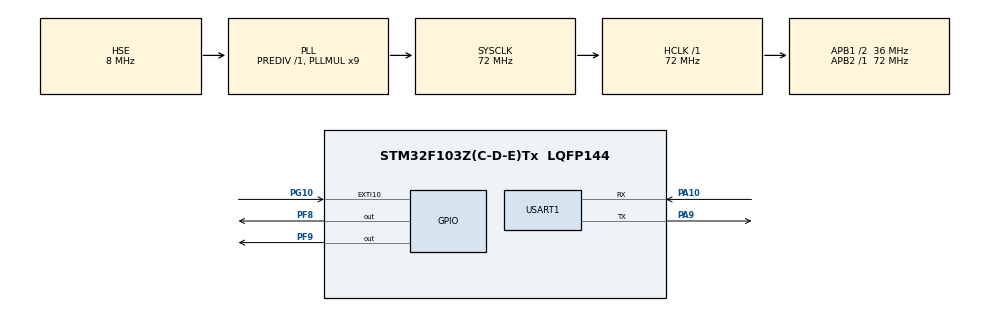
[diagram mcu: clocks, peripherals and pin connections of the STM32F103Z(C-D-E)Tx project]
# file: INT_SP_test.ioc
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Mcu.Family=STM32F1
Mcu.Name=STM32F103Z(C-D-E)Tx
Mcu.Package=LQFP144
NVIC.EXTI15_10_IRQn=true\:3\:0\:true\:false\:true\:true\:true\:true
NVIC.PriorityGroup=NVIC_PRIORITYGROUP_2
OSC_IN.Mode=HSE-External-Oscillator
OSC_IN.Signal=RCC_OSC_IN
OSC_OUT.Mode=HSE-External-Oscillator
OSC_OUT.Signal=RCC_OSC_OUT
PA10.Mode=Asynchronous
PA10.Signal=USART1_RX
PA13.Mode=Serial_Wire
PA13.Signal=SYS_JTMS-SWDIO
PA14.Mode=Serial_Wire
PA14.Signal=SYS_JTCK-SWCLK
PA9.Mode=Asynchronous
PA9.Signal=USART1_TX
PF8.PinState=GPIO_PIN_SET
PF8.Signal=GPIO_Output
PF9.PinState=GPIO_PIN_SET
PF9.Signal=GPIO_Output
PG10.GPIO_ModeDefaultEXTI=GPIO_MODE_IT_FALLING
PG10.Signal=GPXTI10
ProjectManager.HeapSize=0x200
ProjectManager.StackSize=0x400
ProjectManager.TargetToolchain=MDK-ARM V5.32
RCC.AHBFreq_Value=72000000
RCC.APB1CLKDivider=RCC_HCLK_DIV2
RCC.APB1Freq_Value=36000000
RCC.APB1TimFreq_Value=72000000
RCC.APB2Freq_Value=72000000
RCC.APB2TimFreq_Value=72000000
RCC.HCLKFreq_Value=72000000
RCC.PLLMUL=RCC_PLL_MUL9
RCC.PLLSourceVirtual=RCC_PLLSOURCE_HSE
RCC.SYSCLKFreq_VALUE=72000000
RCC.SYSCLKSource=RCC_SYSCLKSOURCE_PLLCLK
RCC.USBFreq_Value=72000000
USART1.Parity=PARITY_ODD
USART1.VirtualMode=VM_ASYNC
USART1.WordLength=WORDLENGTH_9B
board=custom

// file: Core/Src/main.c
/* USER CODE BEGIN Header */
/**
 ******************************************************************************
 * @file           : main.c
 * @brief          : Main program body
 ******************************************************************************
 * @attention
 *
 * Copyright (c) 2026 STMicroelectronics.
 * All rights reserved.
 *
 * This software is licensed under terms that can be found in the LICENSE file
 * in the root directory of this software component.
 * If no LICENSE file comes with this software, it is provided AS-IS.
 *
 ******************************************************************************
 */
/* USER CODE END Header */
#include "main.h"

/* USER CODE BEGIN Includes */
#include "BSP_Usart_Redir.h"
/* USER CODE END Includes */

/* USER CODE BEGIN PTD */
// typedef void (*ptr_t)(void); // 函数指针类型
/* USER CODE END PTD */

/* USER CODE BEGIN PD */
volatile uint32_t led_switch = 0;
// volatile uint32_t led_count = 0;
/* USER CODE END PD */

UART_HandleTypeDef huart1;

void SystemClock_Config(void);
static void MX_GPIO_Init(void);
static void MX_USART1_UART_Init(void);

int main(void)
{

  /* MCU Configuration--------------------------------------------------------*/

  /* Reset of all peripherals, Initializes the Flash interface and the Systick. */
  HAL_Init();

  /* Configure the system clock */
  SystemClock_Config();

  /* Initialize all configured peripherals */
  MX_GPIO_Init();
  MX_USART1_UART_Init();
  /* USER CODE BEGIN 2 */
  // BSP_Usart_Init(&huart1);
  // Default_Loop();

  BSP_Usart_Init(&huart1);
  // printf("测试开始....!\n");
  // HAL_Delay(2000);

  // uint32_t *p = 0x0;
  // *p = 0x11223344;

  // printf("当前程序已经在重复执行reset_handler!!!\n");
  // HAL_Delay(1000);

  // uint32_t reset_address = (*((uint32_t*)0x08000004));
  // ((ptr_t)reset_address)();

  // uint32_t sp_addresss = (*((uint32_t*)0x08000000));
  // printf("sp_addresss: 0x%x\n",sp_addresss);

  /* USER CODE END 2 */

  /* Infinite loop */
  /* USER CODE BEGIN WHILE */
  while (1)
  {
    uint32_t curr_time = HAL_GetTick();
    printf("curr_time: %u ms\n", curr_time);
    HAL_Delay(1000);

    // HAL_GPIO_TogglePin(GPIOF, GPIO_PIN_8);
    // HAL_Delay(2000);

    // if(led_switch)
    // {
    //   HAL_GPIO_TogglePin(GPIOF, GPIO_PIN_9);
    //   led_switch = 0;
    // }

    // if(HAL_GPIO_ReadPin(GPIOG, GPIO_PIN_10) == GPIO_PIN_RESET)
    // {
    //   HAL_Delay(20);
    //   if(HAL_GPIO_ReadPin(GPIOG, GPIO_PIN_10) == GPIO_PIN_RESET)
    //   {
    //     HAL_GPIO_TogglePin(GPIOF, GPIO_PIN_9);
    //   }
    //   while(HAL_GPIO_ReadPin(GPIOG, GPIO_PIN_10) == GPIO_PIN_RESET);
    // }

    /* USER CODE END WHILE */

  }
}

void SystemClock_Config(void)
{
  RCC_OscInitTypeDef RCC_OscInitStruct = {0};
  RCC_ClkInitTypeDef RCC_ClkInitStruct = {0};

  /** Initializes the RCC Oscillators according to the specified parameters
  * in the RCC_OscInitTypeDef structure.
  */
  RCC_OscInitStruct.OscillatorType = RCC_OSCILLATORTYPE_HSE;
  RCC_OscInitStruct.HSEState = RCC_HSE_ON;
  RCC_OscInitStruct.HSEPredivValue = RCC_HSE_PREDIV_DIV1;
  RCC_OscInitStruct.HSIState = RCC_HSI_ON;
  RCC_OscInitStruct.PLL.PLLState = RCC_PLL_ON;
  RCC_OscInitStruct.PLL.PLLSource = RCC_PLLSOURCE_HSE;
  RCC_OscInitStruct.PLL.PLLMUL = RCC_PLL_MUL9;
  if (HAL_RCC_OscConfig(&RCC_OscInitStruct) != HAL_OK)
  {
    Error_Handler();
  }

  /** Initializes the CPU, AHB and APB buses clocks
  */
  RCC_ClkInitStruct.ClockType = RCC_CLOCKTYPE_HCLK|RCC_CLOCKTYPE_SYSCLK
                              |RCC_CLOCKTYPE_PCLK1|RCC_CLOCKTYPE_PCLK2;
  RCC_ClkInitStruct.SYSCLKSource = RCC_SYSCLKSOURCE_PLLCLK;
  RCC_ClkInitStruct.AHBCLKDivider = RCC_SYSCLK_DIV1;
  RCC_ClkInitStruct.APB1CLKDivider = RCC_HCLK_DIV2;
  RCC_ClkInitStruct.APB2CLKDivider = RCC_HCLK_DIV1;

  if (HAL_RCC_ClockConfig(&RCC_ClkInitStruct, FLASH_LATENCY_2) != HAL_OK)
  {
    Error_Handler();
  }
}

static void MX_USART1_UART_Init(void)
{

  huart1.Instance = USART1;
  huart1.Init.BaudRate = 115200;
  huart1.Init.WordLength = UART_WORDLENGTH_9B;
  huart1.Init.StopBits = UART_STOPBITS_1;
  huart1.Init.Parity = UART_PARITY_ODD;
  huart1.Init.Mode = UART_MODE_TX_RX;
  huart1.Init.HwFlowCtl = UART_HWCONTROL_NONE;
  huart1.Init.OverSampling = UART_OVERSAMPLING_16;
  if (HAL_UART_Init(&huart1) != HAL_OK)
  {
    Error_Handler();
  }

}

static void MX_GPIO_Init(void)
{
  GPIO_InitTypeDef GPIO_InitStruct = {0};

  /* GPIO Ports Clock Enable */
  __HAL_RCC_GPIOF_CLK_ENABLE();
  __HAL_RCC_GPIOA_CLK_ENABLE();
  __HAL_RCC_GPIOG_CLK_ENABLE();

  /*Configure GPIO pin Output Level */
  HAL_GPIO_WritePin(GPIOF, GPIO_PIN_8|GPIO_PIN_9, GPIO_PIN_SET);

  /*Configure GPIO pins : PF8 PF9 */
  GPIO_InitStruct.Pin = GPIO_PIN_8|GPIO_PIN_9;
  GPIO_InitStruct.Mode = GPIO_MODE_OUTPUT_PP;
  GPIO_InitStruct.Pull = GPIO_NOPULL;
  GPIO_InitStruct.Speed = GPIO_SPEED_FREQ_LOW;
  HAL_GPIO_Init(GPIOF, &GPIO_InitStruct);

  /*Configure GPIO pin : PG10 */
  GPIO_InitStruct.Pin = GPIO_PIN_10;
  GPIO_InitStruct.Mode = GPIO_MODE_IT_FALLING;
  GPIO_InitStruct.Pull = GPIO_NOPULL;
  HAL_GPIO_Init(GPIOG, &GPIO_InitStruct);

  /* EXTI interrupt init*/
  HAL_NVIC_SetPriority(EXTI15_10_IRQn, 3, 0);
  HAL_NVIC_EnableIRQ(EXTI15_10_IRQn);

}

/* USER CODE BEGIN 4 */
// 在中断处理中，不要做太耗时的操作！
void HAL_GPIO_EXTI_Callback(uint16_t GPIO_Pin) // 40 EXTI15_10!!!
{
  // if(GPIO_Pin == GPIO_PIN_10)
  // {
  //   led_switch = 1;
	// 	//led_count++;
  //   // HAL_GPIO_TogglePin(GPIOF, GPIO_PIN_9); // 中断中翻转LED5
  // }

      if(GPIO_Pin == GPIO_PIN_10)
      {
        printf("中断产生！！\n");
        for(int i = 0; i < 10; i++)
        {
          HAL_GPIO_TogglePin(GPIOF, GPIO_PIN_8);
          HAL_GPIO_TogglePin(GPIOF, GPIO_PIN_9);
          HAL_Delay(1000); // 这里就是在中断处理中哦！！但是HAL_Delay也依赖System Tick！
        }
      }
}

void Default_Loop(void)
{
    printf("正确，进入到死循环, use 重写版本!\n");
    while(1)
    {
      printf("我是新写的方法!\n");
      HAL_Delay(1000);
    }
}

/* USER CODE END 4 */

void Error_Handler(void)
{
  __disable_irq();
  while (1)
  {
  }
}
